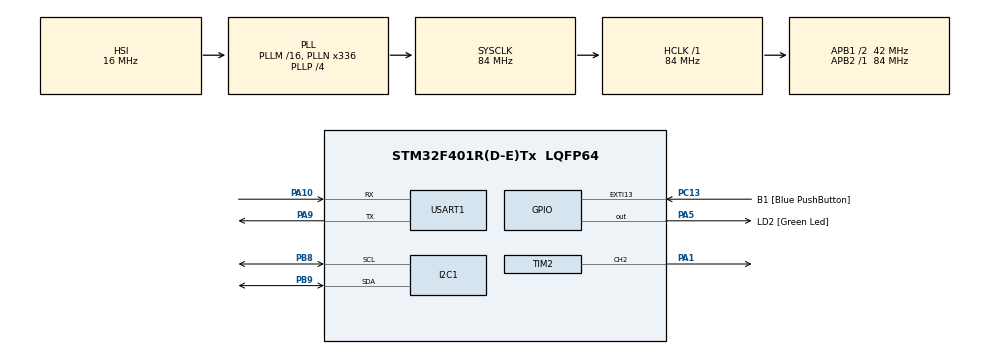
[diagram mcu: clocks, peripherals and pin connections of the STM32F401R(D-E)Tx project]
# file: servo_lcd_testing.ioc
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Mcu.Family=STM32F4
Mcu.Name=STM32F401R(D-E)Tx
Mcu.Package=LQFP64
NVIC.PriorityGroup=NVIC_PRIORITYGROUP_0
PA1.Signal=S_TIM2_CH2
PA10.Mode=Asynchronous
PA10.Signal=USART1_RX
PA13.GPIO_Label=TMS
PA13.Mode=Serial_Wire
PA13.Signal=SYS_JTMS-SWDIO
PA14.GPIO_Label=TCK
PA14.Mode=Serial_Wire
PA14.Signal=SYS_JTCK-SWCLK
PA5.GPIO_Label=LD2 [Green Led]
PA5.GPIO_Mode=GPIO_MODE_OUTPUT_PP
PA5.GPIO_PuPd=GPIO_NOPULL
PA5.GPIO_Speed=GPIO_SPEED_FREQ_LOW
PA5.Signal=GPIO_Output
PA9.Mode=Asynchronous
PA9.Signal=USART1_TX
PB3.GPIO_Label=SWO
PB3.Signal=SYS_JTDO-SWO
PB8.Mode=I2C
PB8.Signal=I2C1_SCL
PB9.Mode=I2C
PB9.Signal=I2C1_SDA
PC13-ANTI_TAMP.GPIO_Label=B1 [Blue PushButton]
PC13-ANTI_TAMP.GPIO_ModeDefaultEXTI=GPIO_MODE_IT_FALLING
PC13-ANTI_TAMP.GPIO_PuPd=GPIO_NOPULL
PC13-ANTI_TAMP.Signal=GPXTI13
PC14-OSC32_IN.Mode=LSE-External-Oscillator
PC14-OSC32_IN.Signal=RCC_OSC32_IN
PC15-OSC32_OUT.Mode=LSE-External-Oscillator
PC15-OSC32_OUT.Signal=RCC_OSC32_OUT
PH0\ -\ OSC_IN.Mode=HSE-External-Clock-Source
PH0\ -\ OSC_IN.Signal=RCC_OSC_IN
PH1\ -\ OSC_OUT.Mode=HSE-External-Clock-Source
PH1\ -\ OSC_OUT.Signal=RCC_OSC_OUT
ProjectManager.HeapSize=0x200
ProjectManager.StackSize=0x400
ProjectManager.TargetToolchain=STM32CubeIDE
RCC.48MHZClocksFreq_Value=48000000
RCC.AHBFreq_Value=84000000
RCC.APB1CLKDivider=RCC_HCLK_DIV2
RCC.APB1Freq_Value=42000000
RCC.APB1TimFreq_Value=84000000
RCC.APB2Freq_Value=84000000
RCC.APB2TimFreq_Value=84000000
RCC.CortexFreq_Value=84000000
RCC.HCLKFreq_Value=84000000
RCC.HSE_VALUE=8000000
RCC.HSI_VALUE=16000000
RCC.PLLN=336
RCC.PLLP=RCC_PLLP_DIV4
RCC.PLLQ=7
RCC.SYSCLKFreq_VALUE=84000000
RCC.SYSCLKSource=RCC_SYSCLKSOURCE_PLLCLK
RCC.VCOOutputFreq_Value=336000000
SH.S_TIM2_CH2.0=TIM2_CH2,PWM Generation2 CH2
TIM2.Channel-PWM\ Generation2\ CH2=TIM_CHANNEL_2
TIM2.Period=20000-1
TIM2.Prescaler=80-1
USART1.VirtualMode=VM_ASYNC
board=NUCLEO-F401RE

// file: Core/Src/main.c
]/* USER CODE BEGIN Header */
/**
  ******************************************************************************
  * @file           : main.c
  * @brief          : Main program body
  ******************************************************************************
  * @attention
  *
  * Copyright (c) 2024 STMicroelectronics.
  * All rights reserved.
  *
  * This software is licensed under terms that can be found in the LICENSE file
  * in the root directory of this software component.
  * If no LICENSE file comes with this software, it is provided AS-IS.
  *
  ******************************************************************************
  */
/* USER CODE END Header */
#include "main.h"
#include "liquidcrystal_i2c.h"
#include <stdlib.h>

I2C_HandleTypeDef hi2c1;

TIM_HandleTypeDef htim2;

UART_HandleTypeDef huart1;

void SystemClock_Config(void);
static void MX_GPIO_Init(void);
static void MX_TIM2_Init(void);
static void MX_USART1_UART_Init(void);
static void MX_I2C1_Init(void);

int main(void)
{

  /* MCU Configuration--------------------------------------------------------*/

  /* Reset of all peripherals, Initializes the Flash interface and the Systick. */
  HAL_Init();

  /* Configure the system clock */
  SystemClock_Config();

  /* Initialize all configured peripherals */
  MX_GPIO_Init();
  MX_TIM2_Init();
  MX_USART1_UART_Init();
  MX_I2C1_Init();
  /* USER CODE BEGIN 2 */
  HAL_TIM_PWM_Start(&htim2, TIM_CHANNEL_2);
  __HAL_TIM_SET_COMPARE(&htim2,TIM_CHANNEL_2, 1250);
  HD44780_Init(2);
  HD44780_Clear();

  char received_data[20];
  uint16_t moisture_value = 0;
  /* USER CODE END 2 */

  /* Infinite loop */
  /* USER CODE BEGIN WHILE */
  while (1)
  {
	  HAL_UART_Receive(&huart1, (uint8_t *)received_data, sizeof(received_data), HAL_MAX_DELAY);
	  moisture_value = atoi(received_data);

	  HD44780_SetCursor(0, 0);
	  HD44780_PrintStr(received_data);
	  static uint16_t last_pwm_value = 1250; // Initially at 1250

	  if (moisture_value <= 800) {
	      HD44780_SetCursor(0, 1);
	      HD44780_PrintStr("Low Moisture");

	      // Move the servo slowly to 1875 (if it's not already there)
	      if (last_pwm_value != 1875) {
	          for (uint16_t pwm_value = last_pwm_value; pwm_value <= 1875; pwm_value++) {
	              __HAL_TIM_SET_COMPARE(&htim2, TIM_CHANNEL_2, pwm_value);
	              HAL_Delay(10); // Adjust delay for smooth movement
	          }
	          last_pwm_value = 1875; // Update the position
	      }
	  } else if (moisture_value > 800 || moisture_value == -1) {
	      HD44780_SetCursor(0, 1);
	      HD44780_PrintStr("Medium/High Moisture");

	      // Move the servo slowly back to 1250 (if it's not already there)
	      if (last_pwm_value != 1250) {
	          for (uint16_t pwm_value = last_pwm_value; pwm_value >= 1250; pwm_value--) {
	              __HAL_TIM_SET_COMPARE(&htim2, TIM_CHANNEL_2, pwm_value);
	              HAL_Delay(10); // Adjust delay for smooth movement
	          }
	          last_pwm_value = 1250; // Update the position
	      }
	  } else {
	      HD44780_SetCursor(0, 1);
	      HD44780_PrintStr("Recalibrating......");

	      // Move the servo slowly back to 1250 during recalibration (if it's not already there)
	      if (last_pwm_value != 1250) {
	          for (uint16_t pwm_value = last_pwm_value; pwm_value >= 1250; pwm_value--) {
	              __HAL_TIM_SET_COMPARE(&htim2, TIM_CHANNEL_2, pwm_value);
	              HAL_Delay(10); // Adjust delay for smooth movement
	          }
	          last_pwm_value = 1250; // Update the position
	      }
	  }

	  HAL_Delay(200);

    /* USER CODE END WHILE */

  }
}

void SystemClock_Config(void)
{
  RCC_OscInitTypeDef RCC_OscInitStruct = {0};
  RCC_ClkInitTypeDef RCC_ClkInitStruct = {0};

  /** Configure the main internal regulator output voltage
  */
  __HAL_RCC_PWR_CLK_ENABLE();
  __HAL_PWR_VOLTAGESCALING_CONFIG(PWR_REGULATOR_VOLTAGE_SCALE2);

  /** Initializes the RCC Oscillators according to the specified parameters
  * in the RCC_OscInitTypeDef structure.
  */
  RCC_OscInitStruct.OscillatorType = RCC_OSCILLATORTYPE_HSI;
  RCC_OscInitStruct.HSIState = RCC_HSI_ON;
  RCC_OscInitStruct.HSICalibrationValue = RCC_HSICALIBRATION_DEFAULT;
  RCC_OscInitStruct.PLL.PLLState = RCC_PLL_ON;
  RCC_OscInitStruct.PLL.PLLSource = RCC_PLLSOURCE_HSI;
  RCC_OscInitStruct.PLL.PLLM = 16;
  RCC_OscInitStruct.PLL.PLLN = 336;
  RCC_OscInitStruct.PLL.PLLP = RCC_PLLP_DIV4;
  RCC_OscInitStruct.PLL.PLLQ = 7;
  if (HAL_RCC_OscConfig(&RCC_OscInitStruct) != HAL_OK)
  {
    Error_Handler();
  }

  /** Initializes the CPU, AHB and APB buses clocks
  */
  RCC_ClkInitStruct.ClockType = RCC_CLOCKTYPE_HCLK|RCC_CLOCKTYPE_SYSCLK
                              |RCC_CLOCKTYPE_PCLK1|RCC_CLOCKTYPE_PCLK2;
  RCC_ClkInitStruct.SYSCLKSource = RCC_SYSCLKSOURCE_PLLCLK;
  RCC_ClkInitStruct.AHBCLKDivider = RCC_SYSCLK_DIV1;
  RCC_ClkInitStruct.APB1CLKDivider = RCC_HCLK_DIV2;
  RCC_ClkInitStruct.APB2CLKDivider = RCC_HCLK_DIV1;

  if (HAL_RCC_ClockConfig(&RCC_ClkInitStruct, FLASH_LATENCY_2) != HAL_OK)
  {
    Error_Handler();
  }
}

static void MX_I2C1_Init(void)
{

  hi2c1.Instance = I2C1;
  hi2c1.Init.ClockSpeed = 100000;
  hi2c1.Init.DutyCycle = I2C_DUTYCYCLE_2;
  hi2c1.Init.OwnAddress1 = 0;
  hi2c1.Init.AddressingMode = I2C_ADDRESSINGMODE_7BIT;
  hi2c1.Init.DualAddressMode = I2C_DUALADDRESS_DISABLE;
  hi2c1.Init.OwnAddress2 = 0;
  hi2c1.Init.GeneralCallMode = I2C_GENERALCALL_DISABLE;
  hi2c1.Init.NoStretchMode = I2C_NOSTRETCH_DISABLE;
  if (HAL_I2C_Init(&hi2c1) != HAL_OK)
  {
    Error_Handler();
  }

}

static void MX_TIM2_Init(void)
{

  TIM_ClockConfigTypeDef sClockSourceConfig = {0};
  TIM_MasterConfigTypeDef sMasterConfig = {0};
  TIM_OC_InitTypeDef sConfigOC = {0};

  htim2.Instance = TIM2;
  htim2.Init.Prescaler = 84-1;
  htim2.Init.CounterMode = TIM_COUNTERMODE_UP;
  htim2.Init.Period = 20000-1;
  htim2.Init.ClockDivision = TIM_CLOCKDIVISION_DIV1;
  htim2.Init.AutoReloadPreload = TIM_AUTORELOAD_PRELOAD_DISABLE;
  if (HAL_TIM_Base_Init(&htim2) != HAL_OK)
  {
    Error_Handler();
  }
  sClockSourceConfig.ClockSource = TIM_CLOCKSOURCE_INTERNAL;
  if (HAL_TIM_ConfigClockSource(&htim2, &sClockSourceConfig) != HAL_OK)
  {
    Error_Handler();
  }
  if (HAL_TIM_PWM_Init(&htim2) != HAL_OK)
  {
    Error_Handler();
  }
  sMasterConfig.MasterOutputTrigger = TIM_TRGO_RESET;
  sMasterConfig.MasterSlaveMode = TIM_MASTERSLAVEMODE_DISABLE;
  if (HAL_TIMEx_MasterConfigSynchronization(&htim2, &sMasterConfig) != HAL_OK)
  {
    Error_Handler();
  }
  sConfigOC.OCMode = TIM_OCMODE_PWM1;
  sConfigOC.Pulse = 0;
  sConfigOC.OCPolarity = TIM_OCPOLARITY_HIGH;
  sConfigOC.OCFastMode = TIM_OCFAST_DISABLE;
  if (HAL_TIM_PWM_ConfigChannel(&htim2, &sConfigOC, TIM_CHANNEL_2) != HAL_OK)
  {
    Error_Handler();
  }
  HAL_TIM_MspPostInit(&htim2);

}

static void MX_USART1_UART_Init(void)
{

  huart1.Instance = USART1;
  huart1.Init.BaudRate = 115200;
  huart1.Init.WordLength = UART_WORDLENGTH_8B;
  huart1.Init.StopBits = UART_STOPBITS_1;
  huart1.Init.Parity = UART_PARITY_NONE;
  huart1.Init.Mode = UART_MODE_TX_RX;
  huart1.Init.HwFlowCtl = UART_HWCONTROL_NONE;
  huart1.Init.OverSampling = UART_OVERSAMPLING_16;
  if (HAL_UART_Init(&huart1) != HAL_OK)
  {
    Error_Handler();
  }

}

static void MX_GPIO_Init(void)
{
  GPIO_InitTypeDef GPIO_InitStruct = {0};

  /* GPIO Ports Clock Enable */
  __HAL_RCC_GPIOC_CLK_ENABLE();
  __HAL_RCC_GPIOH_CLK_ENABLE();
  __HAL_RCC_GPIOA_CLK_ENABLE();
  __HAL_RCC_GPIOB_CLK_ENABLE();

  /*Configure GPIO pin : B1_Pin */
  GPIO_InitStruct.Pin = B1_Pin;
  GPIO_InitStruct.Mode = GPIO_MODE_IT_FALLING;
  GPIO_InitStruct.Pull = GPIO_NOPULL;
  HAL_GPIO_Init(B1_GPIO_Port, &GPIO_InitStruct);

}

void Error_Handler(void)
{
  __disable_irq();
  while (1)
  {
  }
}
